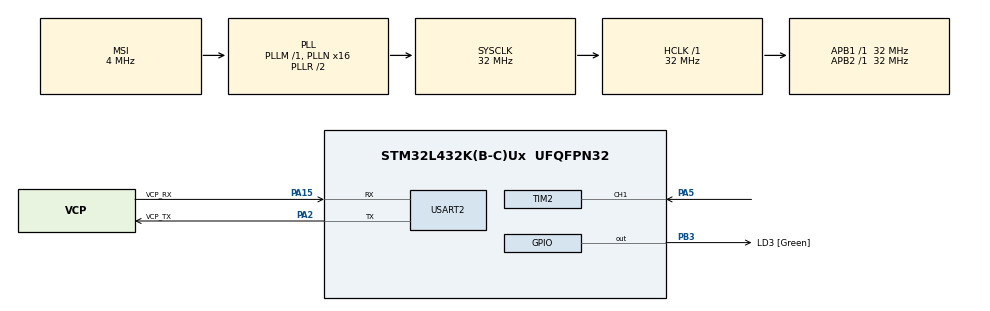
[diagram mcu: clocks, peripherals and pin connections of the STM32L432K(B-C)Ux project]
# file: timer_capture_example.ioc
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Mcu.Family=STM32L4
Mcu.Name=STM32L432K(B-C)Ux
Mcu.Package=UFQFPN32
NVIC.PriorityGroup=NVIC_PRIORITYGROUP_4
NVIC.TIM2_IRQn=true\:0\:0\:false\:false\:true\:true\:true
PA0.GPIO_Label=MCO [High speed clock in]
PA0.Mode=HSE-External-Clock-Source-for-LittleOrca
PA0.Signal=RCC_CK_IN
PA13\ (JTMS-SWDIO).GPIO_Label=SWDIO
PA13\ (JTMS-SWDIO).Mode=Serial_Wire
PA13\ (JTMS-SWDIO).Signal=SYS_JTMS-SWDIO
PA14\ (JTCK-SWCLK).GPIO_Label=SWCLK
PA14\ (JTCK-SWCLK).Mode=Serial_Wire
PA14\ (JTCK-SWCLK).Signal=SYS_JTCK-SWCLK
PA15\ (JTDI).GPIO_Label=VCP_RX
PA15\ (JTDI).Mode=Asynchronous
PA15\ (JTDI).Signal=USART2_RX
PA2.GPIO_Label=VCP_TX
PA2.Mode=Asynchronous
PA2.Signal=USART2_TX
PA5.Signal=S_TIM2_CH1
PB3\ (JTDO-TRACESWO).GPIO_Label=LD3 [Green]
PB3\ (JTDO-TRACESWO).Signal=GPIO_Output
PC14-OSC32_IN\ (PC14).Mode=LSE-External-Oscillator
PC14-OSC32_IN\ (PC14).Signal=RCC_OSC32_IN
PC15-OSC32_OUT\ (PC15).Mode=LSE-External-Oscillator
PC15-OSC32_OUT\ (PC15).Signal=RCC_OSC32_OUT
ProjectManager.HeapSize=0x200
ProjectManager.StackSize=0x400
ProjectManager.TargetToolchain=Makefile
RCC.AHBFreq_Value=32000000
RCC.APB1Freq_Value=32000000
RCC.APB1TimFreq_Value=32000000
RCC.APB2Freq_Value=32000000
RCC.APB2TimFreq_Value=32000000
RCC.CortexFreq_Value=32000000
RCC.HCLKFreq_Value=32000000
RCC.HSE_VALUE=8000000
RCC.HSI16_VALUE=16000000
RCC.HSI48_VALUE=48000000
RCC.HSI_VALUE=16000000
RCC.MSI_VALUE=4000000
RCC.PLLMUL=RCC_PLLMUL_4
RCC.PLLN=16
RCC.SYSCLKFreq_VALUE=32000000
RCC.SYSCLKSource=RCC_SYSCLKSOURCE_PLLCLK
RCC.VCOOutputFreq_Value=64000000
SH.S_TIM2_CH1.0=TIM2_CH1,Input_Capture1_from_TI1
TIM2.Channel-Input_Capture1_from_TI1=TIM_CHANNEL_1
USART2.VirtualMode-Asynchronous=VM_ASYNC
VP_TIM2_VS_ClockSourceINT.Mode=Internal
board=NUCLEO-L432KC

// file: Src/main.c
/* USER CODE BEGIN Header */
/**
  ******************************************************************************
  * @file           : main.c
  * @brief          : Main program body
  ******************************************************************************
  * @attention
  *
  * <h2><center>&copy; Copyright (c) 2020 STMicroelectronics.
  * All rights reserved.</center></h2>
  *
  * This software component is licensed by ST under BSD 3-Clause license,
  * the "License"; You may not use this file except in compliance with the
  * License. You may obtain a copy of the License at:
  *                        opensource.org/licenses/BSD-3-Clause
  *
  ******************************************************************************
  */
/* USER CODE END Header */

#include "main.h"

/* USER CODE BEGIN Includes */
#include <stdio.h>
#include "retarget.h"

/* USER CODE END Includes */

TIM_HandleTypeDef htim2;

UART_HandleTypeDef huart2;

/* USER CODE BEGIN PV */
volatile uint32_t period = 0;

/* USER CODE END PV */

void SystemClock_Config(void);
static void MX_GPIO_Init(void);
static void MX_TIM2_Init(void);
static void MX_USART2_UART_Init(void);

/* USER CODE BEGIN 0 */

void HAL_TIM_IC_CaptureCallback(TIM_HandleTypeDef *htim) {
  /* enum {EDGE1, EDGE2}; */
  /* static uint32_t state = EDGE1; */
  static uint32_t last = 0;
  uint32_t next;
  switch(htim->Channel) {
  case HAL_TIM_ACTIVE_CHANNEL_1:
    next = htim->Instance->CCR1;
    if (next>last) {
      period = next-last;
    }
    else {
      period = htim->Instance->ARR - last + next;
    }
    last = next;
  /*   break; */
  /* default: */
  /*   break; */
  }
}

/* USER CODE END 0 */

int main(void)
{

  /* MCU Configuration--------------------------------------------------------*/

  /* Reset of all peripherals, Initializes the Flash interface and the Systick. */
  HAL_Init();

  /* Configure the system clock */
  SystemClock_Config();

  /* Initialize all configured peripherals */
  MX_GPIO_Init();
  MX_TIM2_Init();
  MX_USART2_UART_Init();
  /* USER CODE BEGIN 2 */
  RetargetInit(&huart2);

  /* USER CODE END 2 */

  /* Infinite loop */
  /* USER CODE BEGIN WHILE */
  printf("\n\r\n\rTarget Reset test \n\r");

  while (1)
  {
    /* USER CODE END WHILE */
    printf("Period = %d\n\r", (int)period);
  }
}

void SystemClock_Config(void)
{
  RCC_OscInitTypeDef RCC_OscInitStruct = {0};
  RCC_ClkInitTypeDef RCC_ClkInitStruct = {0};
  RCC_PeriphCLKInitTypeDef PeriphClkInit = {0};

  /** Configure LSE Drive Capability
  */
  HAL_PWR_EnableBkUpAccess();
  __HAL_RCC_LSEDRIVE_CONFIG(RCC_LSEDRIVE_LOW);
  /** Initializes the CPU, AHB and APB busses clocks
  */
  RCC_OscInitStruct.OscillatorType = RCC_OSCILLATORTYPE_LSE|RCC_OSCILLATORTYPE_MSI;
  RCC_OscInitStruct.LSEState = RCC_LSE_ON;
  RCC_OscInitStruct.MSIState = RCC_MSI_ON;
  RCC_OscInitStruct.MSICalibrationValue = 0;
  RCC_OscInitStruct.MSIClockRange = RCC_MSIRANGE_6;
  RCC_OscInitStruct.PLL.PLLState = RCC_PLL_ON;
  RCC_OscInitStruct.PLL.PLLSource = RCC_PLLSOURCE_MSI;
  RCC_OscInitStruct.PLL.PLLM = 1;
  RCC_OscInitStruct.PLL.PLLN = 16;
  RCC_OscInitStruct.PLL.PLLP = RCC_PLLP_DIV7;
  RCC_OscInitStruct.PLL.PLLQ = RCC_PLLQ_DIV2;
  RCC_OscInitStruct.PLL.PLLR = RCC_PLLR_DIV2;
  if (HAL_RCC_OscConfig(&RCC_OscInitStruct) != HAL_OK)
  {
    Error_Handler();
  }
  /** Initializes the CPU, AHB and APB busses clocks
  */
  RCC_ClkInitStruct.ClockType = RCC_CLOCKTYPE_HCLK|RCC_CLOCKTYPE_SYSCLK
                              |RCC_CLOCKTYPE_PCLK1|RCC_CLOCKTYPE_PCLK2;
  RCC_ClkInitStruct.SYSCLKSource = RCC_SYSCLKSOURCE_PLLCLK;
  RCC_ClkInitStruct.AHBCLKDivider = RCC_SYSCLK_DIV1;
  RCC_ClkInitStruct.APB1CLKDivider = RCC_HCLK_DIV1;
  RCC_ClkInitStruct.APB2CLKDivider = RCC_HCLK_DIV1;

  if (HAL_RCC_ClockConfig(&RCC_ClkInitStruct, FLASH_LATENCY_1) != HAL_OK)
  {
    Error_Handler();
  }
  PeriphClkInit.PeriphClockSelection = RCC_PERIPHCLK_USART2;
  PeriphClkInit.Usart2ClockSelection = RCC_USART2CLKSOURCE_PCLK1;
  if (HAL_RCCEx_PeriphCLKConfig(&PeriphClkInit) != HAL_OK)
  {
    Error_Handler();
  }
  /** Configure the main internal regulator output voltage
  */
  if (HAL_PWREx_ControlVoltageScaling(PWR_REGULATOR_VOLTAGE_SCALE1) != HAL_OK)
  {
    Error_Handler();
  }
  /** Enable MSI Auto calibration
  */
  HAL_RCCEx_EnableMSIPLLMode();
}

static void MX_TIM2_Init(void)
{

  TIM_ClockConfigTypeDef sClockSourceConfig = {0};
  TIM_MasterConfigTypeDef sMasterConfig = {0};
  TIM_IC_InitTypeDef sConfigIC = {0};

  htim2.Instance = TIM2;
  htim2.Init.Prescaler = 0;
  htim2.Init.CounterMode = TIM_COUNTERMODE_UP;
  htim2.Init.Period = 0xFFFFFFFF;
  htim2.Init.ClockDivision = TIM_CLOCKDIVISION_DIV1;
  htim2.Init.AutoReloadPreload = TIM_AUTORELOAD_PRELOAD_DISABLE;
  if (HAL_TIM_Base_Init(&htim2) != HAL_OK)
  {
    Error_Handler();
  }
  sClockSourceConfig.ClockSource = TIM_CLOCKSOURCE_INTERNAL;
  if (HAL_TIM_ConfigClockSource(&htim2, &sClockSourceConfig) != HAL_OK)
  {
    Error_Handler();
  }
  if (HAL_TIM_IC_Init(&htim2) != HAL_OK)
  {
    Error_Handler();
  }
  sMasterConfig.MasterOutputTrigger = TIM_TRGO_RESET;
  sMasterConfig.MasterSlaveMode = TIM_MASTERSLAVEMODE_DISABLE;
  if (HAL_TIMEx_MasterConfigSynchronization(&htim2, &sMasterConfig) != HAL_OK)
  {
    Error_Handler();
  }
  sConfigIC.ICPolarity = TIM_INPUTCHANNELPOLARITY_RISING;
  sConfigIC.ICSelection = TIM_ICSELECTION_DIRECTTI;
  sConfigIC.ICPrescaler = TIM_ICPSC_DIV1;
  sConfigIC.ICFilter = 0;
  if (HAL_TIM_IC_ConfigChannel(&htim2, &sConfigIC, TIM_CHANNEL_1) != HAL_OK)
  {
    Error_Handler();
  }
  /* USER CODE BEGIN TIM2_Init 2 */
  HAL_TIM_Base_Start_IT(&htim2);   // Turn on the IRQ in the timer
  HAL_TIM_IC_Start_IT(&htim2,TIM_CHANNEL_1); // Turn on the IRQ for CH1 input capture
  /* USER CODE END TIM2_Init 2 */
}

static void MX_USART2_UART_Init(void)
{

  huart2.Instance = USART2;
  huart2.Init.BaudRate = 9600;
  huart2.Init.WordLength = UART_WORDLENGTH_8B;
  huart2.Init.StopBits = UART_STOPBITS_1;
  huart2.Init.Parity = UART_PARITY_NONE;
  huart2.Init.Mode = UART_MODE_TX_RX;
  huart2.Init.HwFlowCtl = UART_HWCONTROL_NONE;
  huart2.Init.OverSampling = UART_OVERSAMPLING_16;
  huart2.Init.OneBitSampling = UART_ONE_BIT_SAMPLE_DISABLE;
  huart2.AdvancedInit.AdvFeatureInit = UART_ADVFEATURE_NO_INIT;
  if (HAL_UART_Init(&huart2) != HAL_OK)
  {
    Error_Handler();
  }

}

static void MX_GPIO_Init(void)
{
  GPIO_InitTypeDef GPIO_InitStruct = {0};

  /* GPIO Ports Clock Enable */
  __HAL_RCC_GPIOC_CLK_ENABLE();
  __HAL_RCC_GPIOA_CLK_ENABLE();
  __HAL_RCC_GPIOB_CLK_ENABLE();

  /*Configure GPIO pin Output Level */
  HAL_GPIO_WritePin(LD3_GPIO_Port, LD3_Pin, GPIO_PIN_RESET);

  /*Configure GPIO pin : LD3_Pin */
  GPIO_InitStruct.Pin = LD3_Pin;
  GPIO_InitStruct.Mode = GPIO_MODE_OUTPUT_PP;
  GPIO_InitStruct.Pull = GPIO_NOPULL;
  GPIO_InitStruct.Speed = GPIO_SPEED_FREQ_LOW;
  HAL_GPIO_Init(LD3_GPIO_Port, &GPIO_InitStruct);
}

void Error_Handler(void)
{
}

/************************ (C) COPYRIGHT STMicroelectronics *****END OF FILE****/
